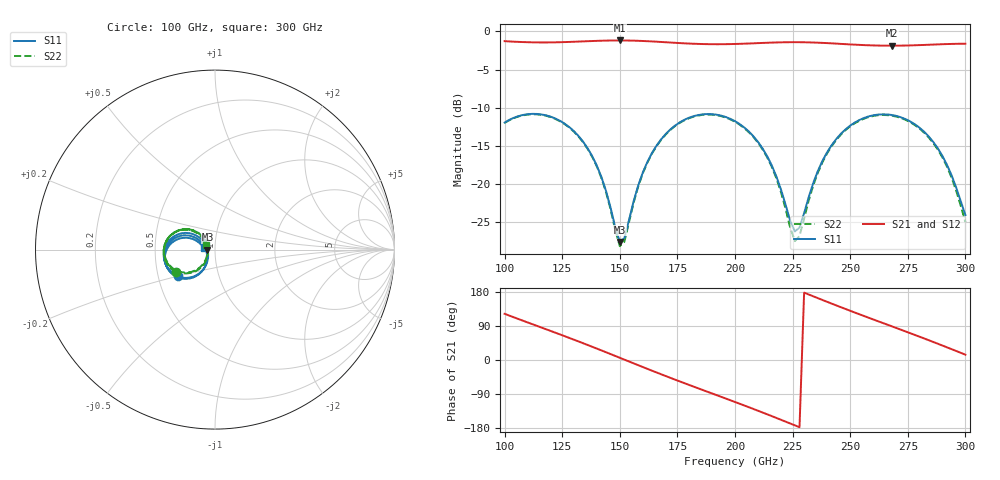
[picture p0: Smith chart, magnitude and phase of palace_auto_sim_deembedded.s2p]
! Created with skrf 1.11.0 (http://scikit-rf.org).
# GHz S DB R 50.0
!freq dBS11 angS11 dBS21 angS21 dBS12 angS12 dBS22 angS22
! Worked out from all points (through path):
!   101 points, 100 GHz to 300 GHz, reference 50 ohm
!   highest |S21| = -1.19 dB at 150 GHz (marker M1); lowest = -1.9 dB at 268 GHz (marker M2)
!   group delay of S21, straight-line fit = 6.51 ps
!   lowest |S11| = -27.6 dB at 150 GHz (marker M3), VSWR 1.09, Z = 46 - j0.117 ohm
!   |S11| at or under -10 dB: start of sweep to end of sweep
!   |S22| runs from -28.1 to -10.8 dB; largest |S21 - S12| = 9.9e-14
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100  -11.94 -144.8  -1.29 121.9  -1.29 121.9  -11.98 -150.2
118  -10.99 179.9  -1.45 81.1  -1.45 81.1  -11.05 173.5
134  -14.41 150.7  -1.32 44.4  -1.32 44.4  -14.48 143.1
142  -19.05 142.3  -1.23 25.4  -1.23 25.4  -19.17 133.7
150  -27.55 -178.3  -1.19 5.9  -1.19 5.9  -28.11 173.3
152  -27.05 -149.8  -1.20 1.0  -1.20 1.0  -27.53 -156.4
160  -18.47 -120.1  -1.26 -18.6  -1.26 -18.6  -18.57 -127.5
168  -14.11 -129.5  -1.39 -37.8  -1.39 -37.8  -14.18 -137.9
184  -10.95 -158.6  -1.65 -74.7  -1.65 -74.7  -11.02 -168.3
200  -11.76 171.7  -1.65 -110.8  -1.65 -110.8  -11.83 160.5
214  -16.36 150.3  -1.50 -143.4  -1.50 -143.4  -16.51 137.2
226  -26.19 -171.7  -1.42 -172.5  -1.42 -172.5  -27.45 175.4
228  -25.67 -148.5  -1.42 -177.4  -1.42 -177.4  -26.79 -157.5
234  -19.82 -120.9  -1.46 168.0  -1.46 168.0  -20.12 -129.8
240  -15.81 -122.9  -1.54 153.5  -1.54 153.5  -15.96 -133.4
248  -12.82 -134.5  -1.68 134.5  -1.68 134.5  -12.92 -146.3
258  -11.13 -152.2  -1.83 111.6  -1.83 111.6  -11.22 -165.0
268  -10.94 -170.3  -1.88 89.0  -1.88 89.0  -11.03 175.8
278  -12.15 172.0  -1.82 66.3  -1.82 66.3  -12.25 157.0
288  -15.30 157.4  -1.71 43.0  -1.71 43.0  -15.46 140.9
294  -18.84 154.6  -1.65 28.6  -1.65 28.6  -19.13 136.7
300  -24.04 173.8  -1.62 14.0  -1.62 14.0  -24.96 155.1
